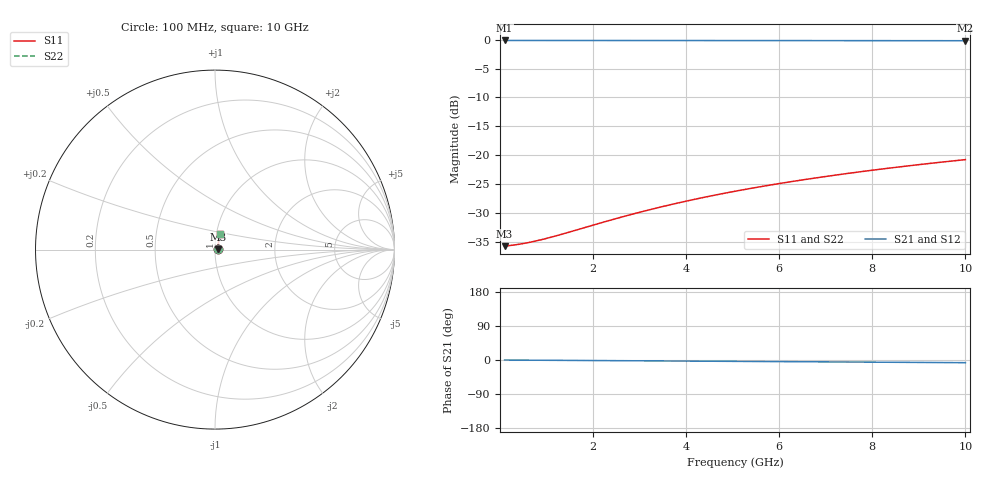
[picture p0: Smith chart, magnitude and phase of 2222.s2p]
# Hz S RI R 50.00
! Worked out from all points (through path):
!   100 points, 100 MHz to 10 GHz, reference 50 ohm
!   highest |S21| = -0.14 dB at 100 MHz (marker M1); lowest = -0.2 dB at 10 GHz (marker M2)
!   lowest |S11| = -35.7 dB at 100 MHz (marker M3), VSWR 1.03, Z = 51.7 + j0.0914 ohm
!   |S11| at or under -10 dB: start of sweep to end of sweep
!   |S22| runs from -35.7 to -20.8 dB; largest |S21 - S12| = 0
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1e8  0.0163 0.000885  0.9837 -0.00122  0.9837 -0.00122  0.0163 0.000885
3e8  0.0165 0.00265  0.9835 -0.00366  0.9835 -0.00366  0.0165 0.00265
5e8  0.0166 0.00442  0.9833 -0.00611  0.9833 -0.00611  0.0166 0.00442
8e8  0.0168 0.00707  0.9832 -0.00977  0.9832 -0.00977  0.0168 0.00707
1e9  0.0169 0.00883  0.9831 -0.0122  0.9831 -0.0122  0.0169 0.00883
1.2e9  0.017 0.0106  0.983 -0.0146  0.983 -0.0146  0.017 0.0106
1.8e9  0.0174 0.0159  0.9826 -0.022  0.9826 -0.022  0.0174 0.0159
2.3e9  0.0177 0.0203  0.9823 -0.028  0.9823 -0.028  0.0177 0.0203
2.7e9  0.018 0.0238  0.982 -0.0329  0.982 -0.0329  0.018 0.0238
3.1e9  0.0183 0.0273  0.9817 -0.0378  0.9817 -0.0378  0.0183 0.0273
3.4e9  0.0185 0.03  0.9814 -0.0414  0.9814 -0.0414  0.0185 0.03
3.8e9  0.0189 0.0335  0.981 -0.0463  0.981 -0.0463  0.0189 0.0335
4.2e9  0.0193 0.037  0.9806 -0.0511  0.9806 -0.0511  0.0193 0.037
4.6e9  0.0197 0.0405  0.9802 -0.056  0.9802 -0.056  0.0197 0.0405
5.1e9  0.0203 0.0448  0.9795 -0.062  0.9795 -0.062  0.0203 0.0448
5.5e9  0.0208 0.0483  0.979 -0.0669  0.979 -0.0669  0.0208 0.0483
5.9e9  0.0213 0.0518  0.9785 -0.0717  0.9785 -0.0717  0.0213 0.0518
6.7e9  0.0225 0.0587  0.9772 -0.0813  0.9772 -0.0813  0.0225 0.0587
7.5e9  0.0238 0.0657  0.9759 -0.091  0.9759 -0.091  0.0238 0.0657
8.4e9  0.0254 0.0734  0.9741 -0.1017  0.9741 -0.1017  0.0254 0.0734
9.2e9  0.027 0.0802  0.9725 -0.1113  0.9725 -0.1113  0.027 0.0802
1e10  0.0287 0.087  0.9707 -0.1208  0.9707 -0.1208  0.0287 0.087
